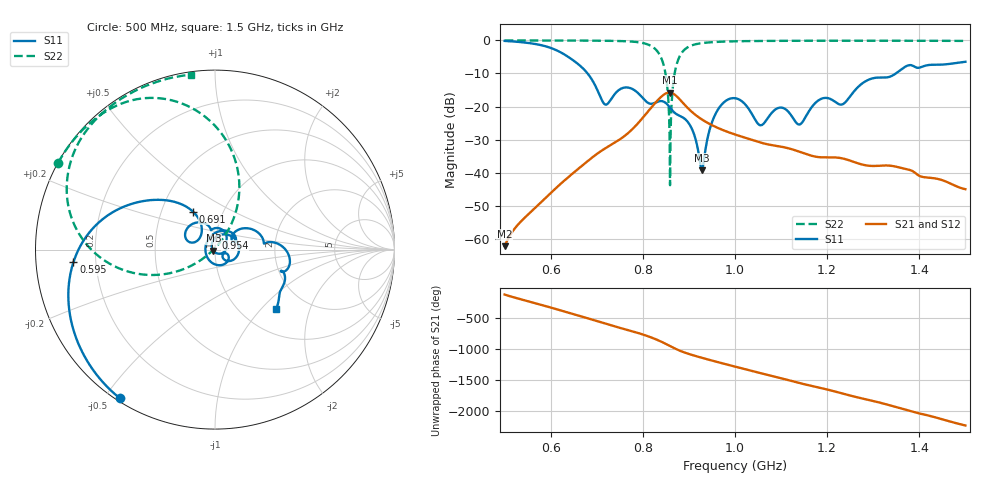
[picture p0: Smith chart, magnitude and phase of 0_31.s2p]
! TOUCHSTONE file generated by CST MICROWAVE STUDIO
! Date and time: Mon Sep 28 14:13:01 2020
! Project name: Scenario_1_Free_SPace.cst
! Parameters = {dx1=693; L_HA=400; MT=2.54; Rad_Dielectric=30; Rad_Lower=7.3; Rad_Upper=30; a_HA=580; a_WG=246; b_HA=500; b_WG=121; c_HA=0; c_WG=187; d_feed=85; h_feed=15; h_lower=18; h_upper=40}
! Header version: 2018
! Port assignment regex: !\s*Touchstone port\s*([0-9]+)\s*=\s*(CST MWS port|CST DS port)\s*([0-9]+|Zmin|Zmax)\s*\(\"(.*)\"\)(\s*mode\s*([0-9]+))?.*
! Touchstone port assignment:
! Touchstone port 1 = CST MWS port 1 ("")
! Touchstone port 2 = CST MWS port 2 ("")
# GHz S DB R 50
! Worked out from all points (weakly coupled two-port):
!   1003 points, 500 MHz to 1.5 GHz, reference 50 ohm
!   highest |S21| = -15.76 dB at 858 MHz (marker M1); lowest = -62.2 dB at 500 MHz (marker M2)
!   lowest |S11| = -39.3 dB at 928 MHz (marker M3), VSWR 1.02, Z = 49.2 - j0.67 ohm
!   |S11| at or under -10 dB: 680.1 MHz to 1.349 GHz (668.7 MHz wide, 65.9 % of centre)
!   |S22| runs from -43.8 to 0.0 dB; largest |S21 - S12| = 7.4e-06
!   S11 on the Smith chart (normalised r, x): 500 MHz: 0.01, -0.55; 595 MHz: 0.12, -0.04; 691 MHz: 0.72, +0.32; 954 MHz: 1.00, +0.14; 1.5 GHz: 1.41, -1.22
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0.5  -0.15 -122.7  -62.23 -116.0  -62.23 -116.0  -0.01 151.1
0.595  -2.02 -174.9  -46.83 44.4  -46.83 44.4  -0.02 144.4
0.667  -8.05 135.8  -38.02 -112.0  -38.02 -112.0  -0.04 138.3
0.691  -12.20 120.2  -35.31 -165.2  -35.31 -165.2  -0.07 135.7
0.719  -19.41 143.1  -32.58 131.2  -32.58 131.2  -0.10 132.3
0.763  -14.21 142.5  -28.61 37.4  -28.61 37.4  -0.24 124.6
0.834  -18.44 89.8  -17.84 -140.3  -17.84 -140.3  -3.76 86.8
0.848  -18.74 66.1  -16.18 170.7  -16.18 170.7  -9.16 67.2
0.858  -20.14 49.2  -15.76 132.4  -15.76 132.4  -28.68 56.8
0.863  -21.01 43.0  -15.91 113.2  -15.91 113.2  -17.68 -144.6
0.868  -21.76 38.1  -16.28 94.5  -16.28 94.5  -10.82 -152.6
0.879  -22.73 26.9  -17.67 56.9  -17.67 56.9  -5.07 -169.9
0.906  -26.61 -23.2  -21.57 -14.3  -21.57 -14.3  -1.51 164.9
0.928  -39.25 -141.3  -23.89 -62.2  -23.89 -62.2  -0.82 155.0
0.954  -23.34 86.6  -25.90 -115.1  -25.90 -115.1  -0.49 147.9
1  -17.47 -2.2  -28.45 154.8  -28.45 154.8  -0.26 140.1
1.055  -25.66 -32.9  -30.87 49.7  -30.87 49.7  -0.16 133.8
1.099  -20.30 -50.5  -32.10 -32.4  -32.10 -32.4  -0.12 129.7
1.141  -25.39 171.9  -33.71 -113.6  -33.71 -113.6  -0.10 126.1
1.167  -20.08 83.0  -34.91 -159.8  -34.91 -159.8  -0.09 124.0
1.334  -11.07 7.3  -37.85 -109.1  -37.85 -109.1  -0.09 111.3
1.5  -6.45 -44.4  -45.00 -80.0  -45.01 -80.0  -0.14 97.8
